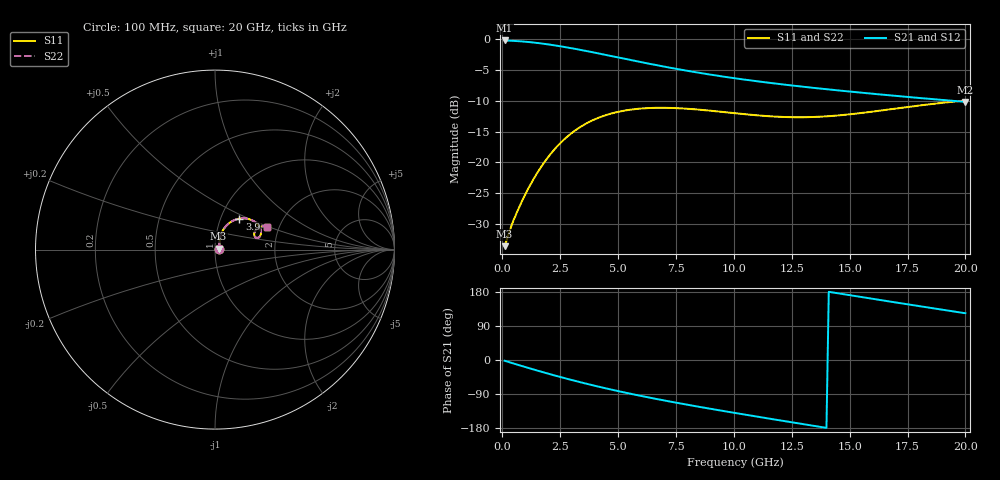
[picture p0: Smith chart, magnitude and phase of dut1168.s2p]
! Touchstone file exported from HFSS 2024.1.0
!  File:  C:/UserFiles/LocalFiles/RDL_TSV_Batchsim/temp_RDL_TSV_1168_1780122498.aedt
!  Generated:  02:43:59 PM May 30, 2026
!  Design:  RDL_TSV
!  Project:  temp_RDL_TSV_1168_1780122498
!  Setup:  Setup1
!  Solution:  Sweep
! Variables:
!  dtsv = 6.44um
!  hbump = 3um
!  htsv = 67.51um
!  ldown = 551.55um
!  lrdl = 491.1um
!  p = 40
!  p1 = 51.06um
!  rhole = 10um
!  subl = 3619.05um
!  t = 450um
!  tdown = 3.43um
!  trdl = 2.59um
!  viad = 10um
!  wdown = 18.16um
!  wrdl = 29.48um
!  xbump = 18um
# GHz S MA R 50.000000
! Terminal data exported
! Port[1] = TM1_1_T1
! Port[2] = TM1_4_T1
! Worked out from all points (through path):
!   200 points, 100 MHz to 20 GHz, reference 50 ohm
!   highest |S21| = -0.18 dB at 100 MHz (marker M1); lowest = -10.2 dB at 20 GHz (marker M2)
!   group delay of S21, straight-line fit = 31.2 ps
!   lowest |S11| = -33.6 dB at 100 MHz (marker M3), VSWR 1.04, Z = 52 + j0.611 ohm
!   |S11| at or under -10 dB: start of sweep to 19.84 GHz
!   |S22| runs from -33.6 to -9.9 dB; largest |S21 - S12| = 1.7e-14
!   S11 on the Smith chart (normalised r, x): 100 MHz: 1.04, +0.01; 3.9 GHz: 1.23, +0.44; 20 GHz: 1.73, +0.50
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0.1  0.02084 16.4  0.9798 -2.0  0.9798 -2.0  0.02084 16.4
! Gamma 0 0 0 0
! Port Impedance 50 0 50 0
0.4  0.03074 42.3  0.9744 -7.7  0.9744 -7.7  0.03074 42.3
0.7  0.04205 54.6  0.9667 -13.2  0.9667 -13.2  0.04205 54.6
1.1  0.0601 63.8  0.9531 -20.5  0.9531 -20.5  0.06009 63.8
1.6  0.08737 68.0  0.9307 -29.5  0.9307 -29.5  0.08736 68.0
2  0.1117 67.9  0.9092 -36.4  0.9092 -36.4  0.1117 67.9
2.5  0.1431 65.2  0.8792 -44.8  0.8792 -44.8  0.1431 65.2
3  0.1733 60.9  0.8468 -52.9  0.8468 -52.9  0.1734 60.9
3.5  0.2007 55.9  0.8131 -60.6  0.8131 -60.6  0.2008 55.9
3.9  0.2198 51.7  0.786 -66.6  0.786 -66.6  0.2198 51.7
4.6  0.2463 44.5  0.7391 -76.6  0.7391 -76.6  0.2463 44.6
5.3  0.2641 37.9  0.6943 -86.0  0.6943 -86.0  0.2642 37.9
6  0.2741 32.0  0.6528 -94.9  0.6528 -94.9  0.2742 32.1
6.8  0.2779 26.4  0.6099 -104.5  0.6099 -104.5  0.2781 26.4
8.4  0.2693 18.6  0.5387 -122.5  0.5387 -122.5  0.2696 18.6
10.1  0.2505 15.4  0.4812 -140.3  0.4812 -140.3  0.2509 15.3
11.7  0.2361 16.7  0.4395 -156.4  0.4395 -156.4  0.2367 16.6
13.4  0.2337 20.9  0.4042 -173.2  0.4042 -173.2  0.2342 20.8
15  0.2458 24.8  0.3765 171.1  0.3765 171.1  0.2462 24.7
16.7  0.2692 26.8  0.3512 154.6  0.3512 154.6  0.2694 26.6
18.3  0.2943 26.2  0.3302 139.3  0.3302 139.3  0.2943 26.0
20  0.3183 23.8  0.3105 123.4  0.3105 123.4  0.3181 23.6
